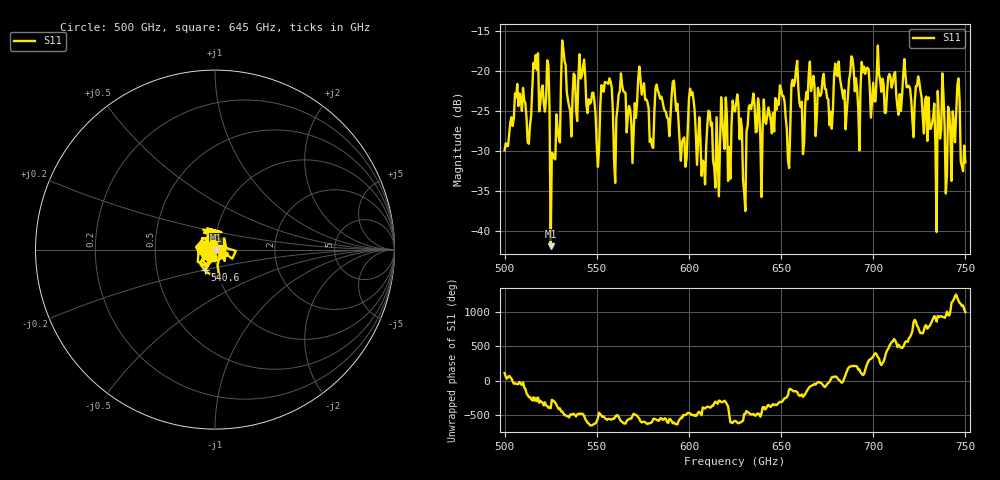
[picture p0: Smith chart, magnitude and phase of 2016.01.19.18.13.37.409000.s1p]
!Created with skrf (http://scikit-rf.org).
# GHz S RI R 50.0
!freq ReS11 ImS11
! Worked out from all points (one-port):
!   401 points, 500 GHz to 750 GHz, reference 50 ohm
!   lowest |S11| = -41.9 dB at 525 GHz (marker M1), VSWR 1.02, Z = 50.7 - j0.473 ohm
!   |S11| at or under -10 dB: start of sweep to end of sweep
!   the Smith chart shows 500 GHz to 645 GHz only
!   S11 on the Smith chart (normalised r, x): 500 GHz: 0.97, +0.06; 540.6 GHz: 0.87, -0.20; 645 GHz: 1.08, +0.01
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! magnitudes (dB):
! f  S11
! 500 GHz  -29.9
! 506.9 GHz  -21.6
! 513.1 GHz  -29.1
! 516.9 GHz  -18.0
! 525 GHz  -41.9
! 526.2 GHz  -30.4
! 531.2 GHz  -16.2
! 540.6 GHz  -17.9
! 550.6 GHz  -32.0
! 553.8 GHz  -22.6
! 560 GHz  -34.0
! 562.5 GHz  -22.6
! 593.8 GHz  -24.1
! 597.5 GHz  -28.3
! 601.2 GHz  -23.0
! 615 GHz  -25.8
! 625 GHz  -25.1
! 630 GHz  -35.2
! 633.8 GHz  -24.8
! 645 GHz  -27.8
! 650.6 GHz  -23.1
! 653.8 GHz  -31.2
! 656.2 GHz  -21.1
! 687.5 GHz  -20.3
! 718.8 GHz  -22.0
! 733.1 GHz  -24.1
! 745.6 GHz  -21.8
! 750 GHz  -31.4
